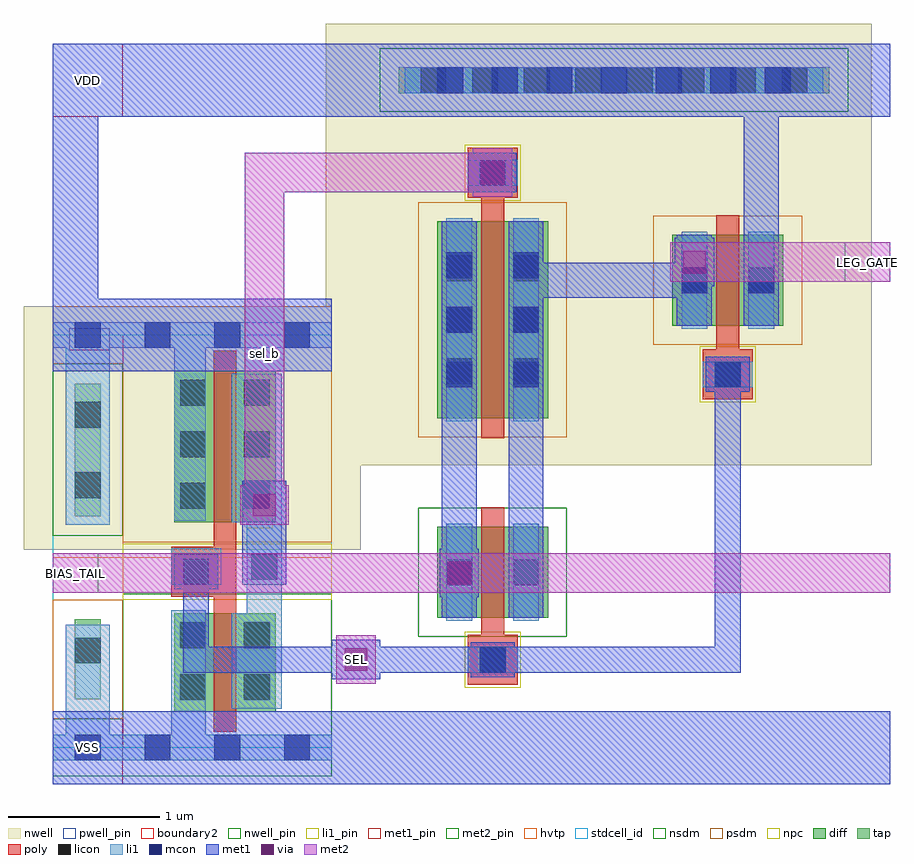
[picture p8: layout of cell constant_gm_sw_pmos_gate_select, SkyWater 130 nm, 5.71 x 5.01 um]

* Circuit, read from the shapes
.subckt constant_gm_sw_pmos_gate_select BIAS_TAIL LEG_GATE SEL VDD VSS sel_b
XM1 sel_b SEL VSS VSS sky130_fd_pr__nfet_01v8 w=0.65 l=0.15
XM2 LEG_GATE SEL BIAS_TAIL VSS sky130_fd_pr__nfet_01v8 w=0.6 l=0.15
XM3 sel_b SEL VDD VDD sky130_fd_pr__pfet_01v8_hvt w=1 l=0.15
XM4 LEG_GATE sel_b BIAS_TAIL VDD sky130_fd_pr__pfet_01v8 w=1.3 l=0.15
XM5 VDD SEL LEG_GATE VDD sky130_fd_pr__pfet_01v8 w=0.6 l=0.15
.ends

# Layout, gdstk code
import gdstk
lib = gdstk.Library(unit=1e-6, precision=1e-09)
def R(c, l, rs):  # rectangles x0, y0, x1, y1
    for r in rs: c.add(gdstk.rectangle(r[:2], r[2:], *l))
def A(c, l, x, y, w, h, nx, ny, dx, dy):  # array of equal rectangles
    R(c, l, [(x+i*dx, y+j*dy, x+i*dx+w, y+j*dy+h) for i in range(nx) for j in range(ny)])
def P(c, l, *ps):  # polygons
    for p in ps: c.add(gdstk.Polygon(p, *l))
nwell_pin = (64, 16)
nwell = (64, 20)
diff = (65, 20)
tap = (65, 44)
poly = (66, 20)
licon = (66, 44)
li1_pin = (67, 16)
li1 = (67, 20)
mcon = (67, 44)
met1_pin = (68, 16)
met1 = (68, 20)
via = (68, 44)
met2_pin = (69, 16)
met2 = (69, 20)
hvtp = (78, 44)
stdcell_id = (81, 4)
nsdm = (93, 44)
psdm = (94, 20)
npc = (95, 20)
pwell_pin = (122, 16)
boundary2 = (236, 0)

sky130_fd_sc_hd__inv_1 = lib.new_cell('sky130_fd_sc_hd__inv_1')
R(sky130_fd_sc_hd__inv_1, nwell_pin, [(0.145,2.635,0.315,2.805), (0.145,2.635,0.315,2.805)])
R(sky130_fd_sc_hd__inv_1, nwell, [(-0.19,1.305,1.57,2.91)])
R(sky130_fd_sc_hd__inv_1, diff, [(0.34,0.235,1.01,0.885), (0.34,1.485,1.01,2.485)])
P(sky130_fd_sc_hd__inv_1, poly, [(0.6,0.105),(0.6,0.995),(0.32,0.995),(0.32,1.325),(0.6,1.325),(0.6,2.615),(0.75,2.615),(0.75,0.105)])
A(sky130_fd_sc_hd__inv_1, licon, 0.38, 1.575, 0.17, 0.17, 1, 3, 0, 0.34)
A(sky130_fd_sc_hd__inv_1, licon, 0.8, 1.575, 0.17, 0.17, 1, 3, 0, 0.34)
R(sky130_fd_sc_hd__inv_1, licon, [(0.38,0.315,0.55,0.485), (0.8,0.315,0.97,0.485), (0.38,0.655,0.55,0.825), (0.8,0.655,0.97,0.825), (0.4,1.075,0.57,1.245)])
R(sky130_fd_sc_hd__inv_1, li1_pin, [(0.36,1.105,0.53,1.275), (0.82,1.105,0.99,1.275), (0.82,1.445,0.99,1.615)])
R(sky130_fd_sc_hd__inv_1, li1, [(0,-0.085,1.38,0.085), (0.32,0.005,0.55,0.905), (0.32,1.075,0.65,1.315), (0.34,1.495,0.55,2.675), (0,2.635,1.38,2.805)])
P(sky130_fd_sc_hd__inv_1, li1, [(0.72,0.255),(0.72,0.885),(0.82,0.885),(0.82,1.485),(0.72,1.485),(0.72,2.465),(1.05,2.465),(1.05,0.255)])
A(sky130_fd_sc_hd__inv_1, mcon, 0.145, -0.085, 0.17, 0.17, 3, 2, 0.46, 2.72)
R(sky130_fd_sc_hd__inv_1, met1_pin, [(0.145,-0.085,0.315,0.085), (0.145,-0.085,0.315,0.085), (0.145,2.635,0.315,2.805), (0.145,2.635,0.315,2.805)])
R(sky130_fd_sc_hd__inv_1, hvtp, [(0,1.25,1.38,2.72)])
R(sky130_fd_sc_hd__inv_1, stdcell_id, [(0,0,1.38,2.72)])
R(sky130_fd_sc_hd__inv_1, nsdm, [(0,-0.19,1.38,1.015)])
R(sky130_fd_sc_hd__inv_1, psdm, [(0,1.355,1.38,2.91)])
R(sky130_fd_sc_hd__inv_1, npc, [(0,0.975,1.38,1.345)])
R(sky130_fd_sc_hd__inv_1, pwell_pin, [(0.145,-0.085,0.315,0.085), (0.145,-0.085,0.315,0.085)])
R(sky130_fd_sc_hd__inv_1, boundary2, [(0,0,1.38,2.72)])
sky130_fd_sc_hd__inv_1.add(gdstk.FlexPath([(0,0),(1.38,0)], 0.48, ends="flush", simple_path=True, layer=68, datatype=20))  # met1
sky130_fd_sc_hd__inv_1.add(gdstk.FlexPath([(0,2.72),(1.38,2.72)], 0.48, ends="flush", simple_path=True, layer=68, datatype=20))  # met1
sky130_fd_sc_hd__inv_1.add(gdstk.Label('VPWR', (0.23,2.72), layer=68, texttype=5))
sky130_fd_sc_hd__inv_1.add(gdstk.Label('VGND', (0.23,0), layer=68, texttype=5))
sky130_fd_sc_hd__inv_1.add(gdstk.Label('inv_1', (0,0), layer=83, texttype=44))
sky130_fd_sc_hd__inv_1.add(gdstk.Label('A', (0.445,1.19), layer=67, texttype=5))
sky130_fd_sc_hd__inv_1.add(gdstk.Label('Y', (0.905,1.19), layer=67, texttype=5))
sky130_fd_sc_hd__inv_1.add(gdstk.Label('Y', (0.905,1.53), layer=67, texttype=5))
sky130_fd_sc_hd__inv_1.add(gdstk.Label('VPB', (0.23,2.72), layer=64, texttype=5))
sky130_fd_sc_hd__inv_1.add(gdstk.Label('VNB', (0.23,0), layer=64, texttype=59))

sky130_fd_pr__pfet_01v8_ = lib.new_cell('sky130_fd_pr__pfet_01v8_LQXPEK')
R(sky130_fd_pr__pfet_01v8_, nwell, [(-0.545,-0.62,0.545,0.79)])
R(sky130_fd_pr__pfet_01v8_, diff, [(-0.365,-0.12,0.365,0.48)])
R(sky130_fd_pr__pfet_01v8_, poly, [(-0.165,-0.605,0.165,-0.275), (-0.075,-0.275,0.075,0.61)])
R(sky130_fd_pr__pfet_01v8_, licon, [(-0.085,-0.525,0.085,-0.355), (-0.305,0.095,-0.135,0.265), (0.135,0.095,0.305,0.265)])
R(sky130_fd_pr__pfet_01v8_, li1, [(-0.165,-0.525,0.165,-0.355), (-0.305,-0.14,-0.135,0.5), (0.135,-0.14,0.305,0.5)])
R(sky130_fd_pr__pfet_01v8_, mcon, [(-0.085,-0.525,0.085,-0.355), (-0.305,0.095,-0.135,0.265), (0.135,0.095,0.305,0.265)])
R(sky130_fd_pr__pfet_01v8_, met1, [(-0.145,-0.555,0.145,-0.325), (-0.335,-0.12,-0.105,0.48), (0.105,-0.12,0.335,0.48)])
R(sky130_fd_pr__pfet_01v8_, psdm, [(-0.49,-0.245,0.49,0.605)])
R(sky130_fd_pr__pfet_01v8_, npc, [(-0.185,-0.625,0.185,-0.255)])
sky130_fd_pr__pfet_01v8_.add(gdstk.Label('G', (0,-0.44), layer=67, texttype=5))
sky130_fd_pr__pfet_01v8_.add(gdstk.Label('S', (0.22,0.18), layer=67, texttype=5))
sky130_fd_pr__pfet_01v8_.add(gdstk.Label('D', (-0.22,0.18), layer=67, texttype=5))

sky130_fd_pr__nfet_01v8_ = lib.new_cell('sky130_fd_pr__nfet_01v8_XC73WA')
R(sky130_fd_pr__nfet_01v8_, diff, [(-0.365,-0.145,0.365,0.455)])
R(sky130_fd_pr__nfet_01v8_, poly, [(-0.165,-0.585,0.165,-0.255), (-0.075,-0.255,0.075,0.585)])
R(sky130_fd_pr__nfet_01v8_, licon, [(-0.085,-0.505,0.085,-0.335), (-0.305,0.07,-0.135,0.24), (0.135,0.07,0.305,0.24)])
R(sky130_fd_pr__nfet_01v8_, li1, [(-0.165,-0.505,0.165,-0.335), (-0.305,-0.165,-0.135,0.475), (0.135,-0.165,0.305,0.475)])
R(sky130_fd_pr__nfet_01v8_, mcon, [(-0.085,-0.505,0.085,-0.335), (-0.305,0.07,-0.135,0.24), (0.135,0.07,0.305,0.24)])
R(sky130_fd_pr__nfet_01v8_, met1, [(-0.145,-0.535,0.145,-0.305), (-0.335,-0.145,-0.105,0.455), (0.105,-0.145,0.335,0.455)])
R(sky130_fd_pr__nfet_01v8_, nsdm, [(-0.49,-0.27,0.49,0.58)])
R(sky130_fd_pr__nfet_01v8_, npc, [(-0.185,-0.605,0.185,-0.235)])
sky130_fd_pr__nfet_01v8_.add(gdstk.Label('G', (0,-0.42), layer=67, texttype=5))
sky130_fd_pr__nfet_01v8_.add(gdstk.Label('S', (0.22,0.155), layer=67, texttype=5))
sky130_fd_pr__nfet_01v8_.add(gdstk.Label('D', (-0.22,0.155), layer=67, texttype=5))

c_sky130_fd_pr__pfet_01v8_ = lib.new_cell('sky130_fd_pr__pfet_01v8_Z7FRA9')
R(c_sky130_fd_pr__pfet_01v8_, nwell, [(-0.545,-1.14,0.545,0.97)])
R(c_sky130_fd_pr__pfet_01v8_, diff, [(-0.365,-0.83,0.365,0.47)])
R(c_sky130_fd_pr__pfet_01v8_, poly, [(-0.075,-0.96,0.075,0.625), (-0.165,0.625,0.165,0.955)])
A(c_sky130_fd_pr__pfet_01v8_, licon, -0.305, -0.605, 0.17, 0.17, 1, 3, 0, 0.34)
A(c_sky130_fd_pr__pfet_01v8_, licon, 0.135, -0.605, 0.17, 0.17, 1, 3, 0, 0.34)
R(c_sky130_fd_pr__pfet_01v8_, licon, [(-0.085,0.705,0.085,0.875)])
R(c_sky130_fd_pr__pfet_01v8_, li1, [(-0.305,-0.85,-0.135,0.49), (0.135,-0.85,0.305,0.49), (-0.165,0.705,0.165,0.875)])
A(c_sky130_fd_pr__pfet_01v8_, mcon, -0.305, -0.625, 0.17, 0.17, 1, 3, 0, 0.36)
A(c_sky130_fd_pr__pfet_01v8_, mcon, 0.135, -0.625, 0.17, 0.17, 1, 3, 0, 0.36)
R(c_sky130_fd_pr__pfet_01v8_, mcon, [(-0.085,0.705,0.085,0.875)])
R(c_sky130_fd_pr__pfet_01v8_, met1, [(-0.335,-0.83,-0.105,0.47), (0.105,-0.83,0.335,0.47), (-0.145,0.675,0.145,0.905)])
R(c_sky130_fd_pr__pfet_01v8_, psdm, [(-0.49,-0.955,0.49,0.595)])
R(c_sky130_fd_pr__pfet_01v8_, npc, [(-0.185,0.605,0.185,0.975)])
c_sky130_fd_pr__pfet_01v8_.add(gdstk.Label('G', (0,0.79), layer=67, texttype=5))
c_sky130_fd_pr__pfet_01v8_.add(gdstk.Label('S', (0.22,-0.18), layer=67, texttype=5))
c_sky130_fd_pr__pfet_01v8_.add(gdstk.Label('D', (-0.22,-0.18), layer=67, texttype=5))

sky130_fd_sc_hd__tapvpwr = lib.new_cell('sky130_fd_sc_hd__tapvpwrvgnd_1')
R(sky130_fd_sc_hd__tapvpwr, nwell, [(-0.19,1.305,0.65,2.91)])
R(sky130_fd_sc_hd__tapvpwr, tap, [(0.145,0.32,0.315,0.845), (0.145,1.525,0.315,2.4)])
R(sky130_fd_sc_hd__tapvpwr, licon, [(0.145,0.555,0.315,0.725), (0.145,1.645,0.315,1.815), (0.145,2.11,0.315,2.28)])
R(sky130_fd_sc_hd__tapvpwr, li1, [(0,-0.085,0.46,0.085), (0.085,0,0.375,0.81), (0.085,1.47,0.375,2.72), (0,2.635,0.46,2.805)])
R(sky130_fd_sc_hd__tapvpwr, mcon, [(0.145,-0.085,0.315,0.085), (0.145,2.635,0.315,2.805)])
R(sky130_fd_sc_hd__tapvpwr, met1_pin, [(0.105,-0.09,0.36,0.1), (0.11,2.62,0.375,2.765)])
R(sky130_fd_sc_hd__tapvpwr, met1, [(0,-0.24,0.46,0.24), (0,2.48,0.46,2.96)])
R(sky130_fd_sc_hd__tapvpwr, hvtp, [(0,1.25,0.46,2.72)])
R(sky130_fd_sc_hd__tapvpwr, stdcell_id, [(0,0,0.46,2.72)])
R(sky130_fd_sc_hd__tapvpwr, nsdm, [(0,-0.19,0.46,0.19), (0,1.395,0.46,2.53)])
R(sky130_fd_sc_hd__tapvpwr, psdm, [(0,0.19,0.46,0.975), (0,2.53,0.46,2.91)])
sky130_fd_sc_hd__tapvpwr.add(gdstk.Label('VGND', (0.23,0), layer=68, texttype=5))
sky130_fd_sc_hd__tapvpwr.add(gdstk.Label('VPWR', (0.23,2.72), layer=68, texttype=5))
sky130_fd_sc_hd__tapvpwr.add(gdstk.Label('tapvpwrvgnd_1', (0,0), layer=83, texttype=44))

constant_gm_sw_pmos_gate = lib.new_cell('constant_gm_sw_pmos_gate_select')
R(constant_gm_sw_pmos_gate, nwell, [(1.8,1.86,5.4,4.77)])
R(constant_gm_sw_pmos_gate, tap, [(2.28,4.315,5.12,4.485)])
A(constant_gm_sw_pmos_gate, licon, 2.425, 4.315, 0.17, 0.17, 8, 1, 0.34, 0)
R(constant_gm_sw_pmos_gate, li1, [(0.86,1.075,1.03,1.245), (1.31,1.105,1.48,1.275), (2.32,4.315,5.08,4.485)])
A(constant_gm_sw_pmos_gate, mcon, 2.535, 4.315, 0.17, 0.17, 7, 1, 0.36, 0)
R(constant_gm_sw_pmos_gate, mcon, [(0.86,1.075,1.03,1.245), (1.31,1.105,1.48,1.275)])
R(constant_gm_sw_pmos_gate, met1_pin, [(0,-0.24,0.46,0.24), (0,4.16,0.46,4.64)])
R(constant_gm_sw_pmos_gate, met1, [(0,-0.24,5.52,0.24), (1.84,0.45,2.16,0.495), (0.86,0.495,4.535,0.665), (0.86,0.665,1.03,1.045), (1.84,0.665,2.16,0.71), (4.365,0.665,4.535,2.545), (2.565,0.855,2.795,0.99), (3.005,0.855,3.235,2.965), (2.55,0.99,2.81,1.31), (0.8,1.045,1.09,1.275), (1.25,1.075,1.54,1.76), (2.565,1.31,2.795,3.47), (0,2.48,0.3,4.16), (4.555,2.78,4.785,4.16), (3.005,2.965,4.125,3.04), (3.005,3.04,4.36,3.195), (3.005,3.195,3.235,3.47), (4.1,3.195,4.36,3.36), (2.74,3.66,3.06,3.92), (0,4.16,5.52,4.64)])
R(constant_gm_sw_pmos_gate, via, [(1.925,0.505,2.075,0.655), (2.605,1.075,2.755,1.225), (1.32,1.525,1.47,1.675), (4.155,3.125,4.305,3.275), (2.825,3.715,2.975,3.865)])
R(constant_gm_sw_pmos_gate, met2_pin, [(1.87,0.42,2.13,0.74), (0,1.02,0.3,1.28), (5.22,3.07,5.52,3.33)])
R(constant_gm_sw_pmos_gate, met2, [(1.87,0.42,2.13,0.74), (0,1.02,5.52,1.28), (1.235,1.47,1.555,1.73), (1.265,1.73,1.525,3.66), (4.07,3.07,5.52,3.33), (2.77,3.63,3.03,3.66), (1.265,3.66,3.03,3.92), (2.77,3.92,3.03,3.95)])
R(constant_gm_sw_pmos_gate, nsdm, [(2.155,4.19,5.245,4.61)])
constant_gm_sw_pmos_gate.add(gdstk.Reference(sky130_fd_sc_hd__inv_1, (0.46,0)))
constant_gm_sw_pmos_gate.add(gdstk.Reference(sky130_fd_pr__pfet_01v8_, (4.45,2.9)))
constant_gm_sw_pmos_gate.add(gdstk.Reference(sky130_fd_pr__nfet_01v8_, (2.9,1)))
constant_gm_sw_pmos_gate.add(gdstk.Reference(c_sky130_fd_pr__pfet_01v8_, (2.9,3)))
constant_gm_sw_pmos_gate.add(gdstk.Reference(sky130_fd_sc_hd__tapvpwr, (0,0)))
constant_gm_sw_pmos_gate.add(gdstk.Label('VSS', (0.23,0), layer=68, texttype=5))
constant_gm_sw_pmos_gate.add(gdstk.Label('VDD', (0.23,4.4), layer=68, texttype=5))
constant_gm_sw_pmos_gate.add(gdstk.Label('SEL', (2,0.58), layer=69, texttype=5))
constant_gm_sw_pmos_gate.add(gdstk.Label('LEG_GATE', (5.37,3.2), layer=69, texttype=5))
constant_gm_sw_pmos_gate.add(gdstk.Label('BIAS_TAIL', (0.15,1.15), layer=69, texttype=5))
constant_gm_sw_pmos_gate.add(gdstk.Label('sel_b', (1.395,2.6), layer=69, texttype=5))

lib.write_gds('constant_gm_sw_pmos_gate_select.gds')
